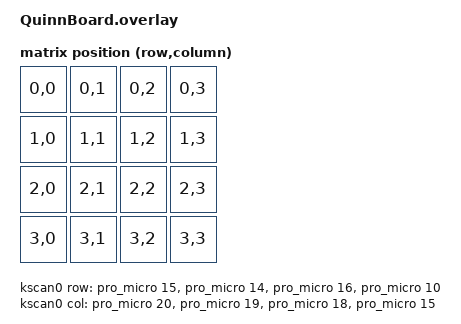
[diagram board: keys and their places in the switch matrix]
#include <dt-bindings/zmk/matrix_transform.h>
#include <physical_layouts.dtsi>

/ {
    chosen {
        zmk,kscan = &kscan0;
        zmk,physical-layout = &physical_layout0;
    };

    physical_layout0: physical_layout_0 {
        compatible = "zmk,physical-layout";
        display-name = "Default Layout";
        transform = &default_transform;
        kscan = &kscan0;
    };

    default_transform: matrix_transform {
        compatible = "zmk,matrix-transform";
        rows = <4>;
        columns = <4>;
        map = <
            RC(0,0) RC(0,1) RC(0,2) RC(0,3)
            RC(1,0) RC(1,1) RC(1,2) RC(1,3)
            RC(2,0) RC(2,1) RC(2,2) RC(2,3)
            RC(3,0) RC(3,1) RC(3,2) RC(3,3)
        >;
    };

    kscan0: kscan {
        compatible = "zmk,kscan-gpio-matrix";
        diode-direction = "col2row";
        wakeup-source;
        row-gpios
            = <&pro_micro 15 (GPIO_ACTIVE_HIGH | GPIO_PULL_DOWN)>
            , <&pro_micro 14 (GPIO_ACTIVE_HIGH | GPIO_PULL_DOWN)>
            , <&pro_micro 16 (GPIO_ACTIVE_HIGH | GPIO_PULL_DOWN)>
            , <&pro_micro 10 (GPIO_ACTIVE_HIGH | GPIO_PULL_DOWN)>
            ;
        col-gpios
            = <&pro_micro 20 GPIO_ACTIVE_HIGH>
            , <&pro_micro 19 GPIO_ACTIVE_HIGH>
            , <&pro_micro 18 GPIO_ACTIVE_HIGH>
            , <&pro_micro 15 GPIO_ACTIVE_HIGH>
            ;
    };
};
